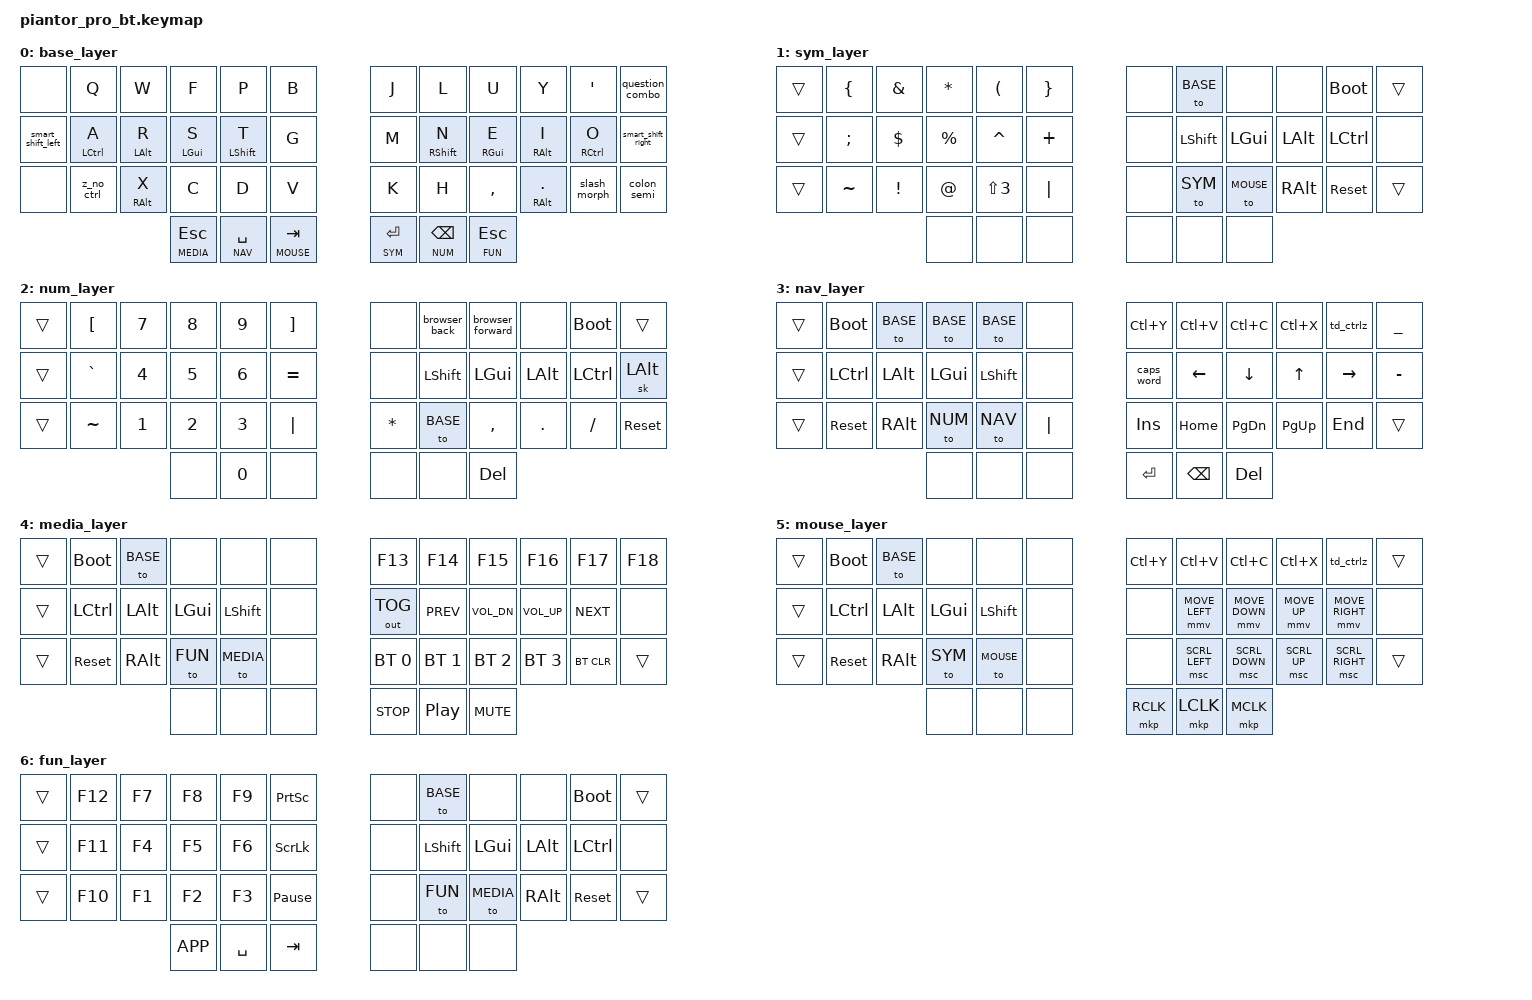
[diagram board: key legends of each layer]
/*
 * Copyright (c) 2025 Will Napier
 *
 * SPDX-License-Identifier: MIT
 */

#include <behaviors.dtsi>
#include <dt-bindings/zmk/keys.h>
#include <dt-bindings/zmk/bt.h>
#include <dt-bindings/zmk/outputs.h>
#include <dt-bindings/zmk/pointing.h>

// Set maximum mouse velocity
#define ZMK_POINTING_DEFAULT_MOVE_VAL 1200

// Layer definitions
#define BASE 0
#define SYM 1
#define NUM 2
#define NAV 3
#define MEDIA 4
#define MOUSE 5
#define FUN 6

// Miryoku timeless HRM settings
#define QUICK_TAP_MS 175

&mt {
    flavor = "balanced";
    tapping-term-ms = <280>;
    quick-tap-ms = <QUICK_TAP_MS>;
    require-prior-idle-ms = <200>;
    hold-trigger-on-release;
};

/ {
    macros {
        // British Pound Sterling via compose sequence (Menu, L, -)
        // Works with ~/.XCompose on Linux
        pound_macro: pound_macro {
            compatible = "zmk,behavior-macro";
            #binding-cells = <0>;
            wait-ms = <30>;
            tap-ms = <30>;
            bindings = <&kp K_APP>, <&kp L>, <&kp MINUS>;
        };
    };

    behaviors {
        td_ctrlz: tap_dance {
            compatible = "zmk,behavior-tap-dance";
            #binding-cells = <0>;
            tapping-term-ms = <200>;
            bindings = <&none>, <&kp LC(Z)>;
        };

        // Make Left-Ctrl+Z a hard no-op at the keyboard (matches the macOS keymap).
        // Z tapped on its own = "z"; Z pressed while Left-Ctrl is held = nothing.
        // Reads LIVE modifier state, so it catches a deliberately-held A (the LCTRL
        // home-row mod) + Z, killing the terminal SIGTSTP suspend at source.
        // NOTE (Linux): deliberate undo is the NAV-layer td_ctrlz (NAV + ' = LC(Z)),
        // which is a separate binding and is UNAFFECTED — you keep undo, you only lose
        // the misfire-prone hold-A+Z route to it.
        z_no_ctrl: z_no_ctrl_morph {
            compatible = "zmk,behavior-mod-morph";
            #binding-cells = <0>;
            bindings = <&kp Z>, <&none>;
            mods = <(MOD_LCTL)>;
        };

        // Smart shift with parentheses on shift - urob-inspired simplified version
        smart_shift_left: smart_shift_left_morph {
            compatible = "zmk,behavior-mod-morph";
            #binding-cells = <0>;
            bindings = <&sk LSHFT>, <&kp LPAR>;  // Normal = sticky shift, Shift = (
            mods = <(MOD_LSFT|MOD_RSFT)>;
        };

        smart_shift_right: smart_shift_right_morph {
            compatible = "zmk,behavior-mod-morph";
            #binding-cells = <0>;
            bindings = <&sk LSHFT>, <&kp RPAR>;  // Normal = sticky shift, Shift = )
            mods = <(MOD_LSFT|MOD_RSFT)>;
        };

        // Forward slash / backslash on same key
        slash_morph: slash_behavior {
            compatible = "zmk,behavior-mod-morph";
            #binding-cells = <0>;
            bindings = <&kp FSLH>, <&kp BSLH>;
            mods = <(MOD_LSFT|MOD_RSFT)>;
        };

        // Question mark / exclamation on same key
        question_combo: question_combo_morph {
            compatible = "zmk,behavior-mod-morph";
            #binding-cells = <0>;
            bindings = <&kp QUESTION>, <&kp EXCLAMATION>;   // Normal = ? vs Shift = !
            mods = <(MOD_LSFT|MOD_RSFT)>;
        };

        // Colon / semicolon on same key
        colon_semi: colon_semi_morph {
            compatible = "zmk,behavior-mod-morph";
            #binding-cells = <0>;
            bindings = <&kp COLON>, <&kp SEMI>;   // Normal = : vs Shift = ;
            mods = <(MOD_LSFT|MOD_RSFT)>;
        };

        // Plus / equal on same key
        plus_equal: plus_equal_morph {
            compatible = "zmk,behavior-mod-morph";
            #binding-cells = <0>;
            bindings = <&kp PLUS>, <&kp EQUAL>;   // Normal = + vs Shift = =
            mods = <(MOD_LSFT|MOD_RSFT)>;
        };

        // Browser navigation behaviors (Linux uses Ctrl)
        browser_back: browser_back_morph {
            compatible = "zmk,behavior-mod-morph";
            #binding-cells = <0>;
            bindings = <&kp LC(LBKT)>, <&kp LC(LS(LBKT))>;   // Ctrl+[ normal, Ctrl+Shift+[ shifted (previous tab)
            mods = <(MOD_LSFT|MOD_RSFT)>;
        };

        browser_forward: browser_forward_morph {
            compatible = "zmk,behavior-mod-morph";
            #binding-cells = <0>;
            bindings = <&kp LC(RBKT)>, <&kp LC(LS(RBKT))>;   // Ctrl+] normal, Ctrl+Shift+] shifted (next tab)
            mods = <(MOD_LSFT|MOD_RSFT)>;
        };

        // Symbol combo behaviors with shift variants
        bracket_left: bracket_left_morph {
            compatible = "zmk,behavior-mod-morph";
            #binding-cells = <0>;
            bindings = <&kp LBKT>, <&kp LBRC>;   // [ normal, { shifted
            mods = <(MOD_LSFT|MOD_RSFT)>;
        };

        bracket_right: bracket_right_morph {
            compatible = "zmk,behavior-mod-morph";
            #binding-cells = <0>;
            bindings = <&kp RBKT>, <&kp RBRC>;   // ] normal, } shifted
            mods = <(MOD_LSFT|MOD_RSFT)>;
        };

        quote: quote_morph {
            compatible = "zmk,behavior-mod-morph";
            #binding-cells = <0>;
            bindings = <&kp SQT>, <&kp DQT>;   // ' normal, " shifted
            mods = <(MOD_LSFT|MOD_RSFT)>;
        };

        // Positional hold-tap for shift - only triggers on opposite hand
        // Uses tap-preferred to bias toward tap during fast rolls
        // Left shift: triggers only on right-hand keys (positions 6-11, 18-23, 30-35, 39-41)
        hml_shift: home_row_left_shift {
            compatible = "zmk,behavior-hold-tap";
            #binding-cells = <2>;
            flavor = "tap-preferred";
            tapping-term-ms = <280>;
            quick-tap-ms = <QUICK_TAP_MS>;
            require-prior-idle-ms = <200>;
            bindings = <&kp>, <&kp>;
            hold-trigger-key-positions = <6 7 8 9 10 11 18 19 20 21 22 23 30 31 32 33 34 35 39 40 41>;
            hold-trigger-on-release;
        };

        // Positional hold-tap for the left-hand letter mods (Ctrl/Alt/GUI on A/R/S).
        // Same bilateral guard as hml_shift: the hold only triggers in combination with
        // a RIGHT-hand key, so same-hand rolls (e.g. a->z) can never produce Ctrl+Z and
        // suspend the terminal. Deliberate undo stays on the NAV layer, unaffected.
        hml: home_row_left_mod {
            compatible = "zmk,behavior-hold-tap";
            #binding-cells = <2>;
            flavor = "tap-preferred";
            tapping-term-ms = <280>;
            quick-tap-ms = <QUICK_TAP_MS>;
            require-prior-idle-ms = <200>;
            bindings = <&kp>, <&kp>;
            hold-trigger-key-positions = <6 7 8 9 10 11 18 19 20 21 22 23 30 31 32 33 34 35 39 40 41>;
            hold-trigger-on-release;
        };

        // Right shift: triggers only on left-hand keys (positions 0-5, 12-17, 24-29, 36-38)
        hmr_shift: home_row_right_shift {
            compatible = "zmk,behavior-hold-tap";
            #binding-cells = <2>;
            flavor = "tap-preferred";
            tapping-term-ms = <280>;
            quick-tap-ms = <QUICK_TAP_MS>;
            require-prior-idle-ms = <200>;
            bindings = <&kp>, <&kp>;
            hold-trigger-key-positions = <0 1 2 3 4 5 12 13 14 15 16 17 24 25 26 27 28 29 36 37 38>;
            hold-trigger-on-release;
        };

        // Right Cmd: tap-preferred with higher idle requirement to prevent accidental Cmd+Backspace
        // when typing words ending in E (like "the") followed by quick corrections
        hmr_cmd: home_row_right_cmd {
            compatible = "zmk,behavior-hold-tap";
            #binding-cells = <2>;
            flavor = "tap-preferred";
            tapping-term-ms = <280>;
            quick-tap-ms = <QUICK_TAP_MS>;
            require-prior-idle-ms = <200>;
            bindings = <&kp>, <&kp>;
            hold-trigger-on-release;
        };
    };


    combos {
        compatible = "zmk,combos";

        // L + U = : (colon) / ; (semicolon when shifted)
        // require-prior-idle prevents misfires during fast typing (ul/lu patterns)
        // while allowing intentional combos after natural pauses
        combo_colon {
            timeout-ms = <50>;
            require-prior-idle-ms = <100>;
            key-positions = <7 8>;
            bindings = <&colon_semi>;
            layers = <BASE>;
        };

        // U + Y = - (minus/hyphen)
        combo_minus {
            // Tuned 2026-06-29 to fix bidirectional misfire (buy/guy -> "-", and a wanted
            // "-" landing as "uy"): the prior-idle gate blocks the mid-word u->y roll (like
            // the sibling combos), and the looser timeout lets the deliberate combo land.
            // Safe to loosen here because "uy" never starts a word — unlike "lu"/colon,
            // whose tight 50ms window we deliberately keep (lunch/luck/lure).
            timeout-ms = <70>;
            require-prior-idle-ms = <75>;
            key-positions = <8 9>;
            bindings = <&kp MINUS>;
            layers = <BASE>;
        };

        // , + . = ? (question mark) / ! (exclamation when shifted)
        combo_question {
            timeout-ms = <50>;
            key-positions = <32 33>;
            bindings = <&question_combo>;
            layers = <BASE>;
        };

        // Safety combo: prevent accidental Ctrl+Z suspension when brushing A while pressing Z
        combo_az_null {
            timeout-ms = <50>;
            require-prior-idle-ms = <50>;
            key-positions = <13 25>;  // A + Z
            bindings = <&none>;
            layers = <BASE>;
        };

        // Symbol combos
        combo_bracket_left {
            timeout-ms = <50>;
            require-prior-idle-ms = <150>;
            key-positions = <2 3>;  // W + F
            bindings = <&bracket_left>;
            layers = <BASE>;
        };

        combo_bracket_right {
            timeout-ms = <50>;
            require-prior-idle-ms = <150>;
            key-positions = <3 4>;  // F + P
            bindings = <&bracket_right>;
            layers = <BASE>;
        };

        combo_at {
            timeout-ms = <50>;
            require-prior-idle-ms = <150>;
            key-positions = <25 26>;  // X + C
            bindings = <&kp AT>;
            layers = <BASE>;
        };

        combo_pipe {
            timeout-ms = <50>;
            require-prior-idle-ms = <150>;
            key-positions = <26 27>;  // C + D
            bindings = <&kp PIPE>;
            layers = <BASE>;
        };

        combo_plus {
            timeout-ms = <50>;
            require-prior-idle-ms = <150>;
            key-positions = <31 32>;  // H + ,
            bindings = <&plus_equal>;
            layers = <BASE>;
        };

        combo_pound {
            timeout-ms = <50>;
            require-prior-idle-ms = <150>;
            key-positions = <33 34>;  // . + /
            bindings = <&pound_macro>;  // £ via compose sequence (Menu, L, -)
            layers = <BASE>;
        };

        // One-shot capital combos (experimental, 2026-06-30): tap both keys to
        // arm a sticky Shift for the next letter only. Emits Shift alone (no
        // Ctrl/Cmd), so no clash with modified app shortcuts. The idle +
        // tight-timeout guard stops them firing during normal typing rolls
        // (e.g. "st"/"ne"); capitals fall after a space (a pause), which is
        // exactly when the combo is permitted to fire.
        combo_shift_left {
            timeout-ms = <40>;
            require-prior-idle-ms = <200>;
            key-positions = <15 16>;  // S + T  ->  sticky LSHIFT
            bindings = <&sk LSHFT>;
            layers = <BASE>;
        };

        combo_shift_right {
            timeout-ms = <40>;
            require-prior-idle-ms = <200>;
            key-positions = <19 20>;  // N + E  ->  sticky RSHIFT
            bindings = <&sk RSHFT>;
            layers = <BASE>;
        };

    };
};

// Configure mouse movement acceleration (Urob-style)
&mmv {
    acceleration-exponent = <1>;
    time-to-max-speed-ms = <60>;
    delay-ms = <0>;
};

// Configure mouse scroll - remove rate limiting for responsive repeated scrolls
&msc {
    acceleration-exponent = <0>;  // Linear, no acceleration
    time-to-max-speed-ms = <0>;   // Immediate max speed
    delay-ms = <0>;               // No delay between scrolls
};

/ {
    chosen {
        zmk,physical-layout = &default_layout;
    };

    keymap {
        compatible = "zmk,keymap";

        base_layer {
            bindings = <
                &none           &kp Q           &kp W           &kp F           &kp P           &kp B           &kp J           &kp L           &kp U           &kp Y           &kp SQT         &question_combo
                &smart_shift_left &hml LCTRL A  &hml LALT R     &hml LGUI S      &hml_shift LSHFT T     &kp G           &kp M           &hmr_shift RSHFT N     &hmr_cmd RGUI E      &mt RALT I      &mt RCTRL O     &smart_shift_right
                &none           &z_no_ctrl      &mt RALT X      &kp C           &kp D           &kp V           &kp K           &kp H           &kp COMMA       &mt RALT DOT    &slash_morph    &colon_semi
                                                        &lt MEDIA ESC           &lt NAV SPACE   &lt MOUSE TAB   &lt SYM RET     &lt NUM BSPC    &lt FUN ESC
            >;
        };

        sym_layer {
            bindings = <
                &trans          &kp LBRC        &kp AMPS        &kp ASTRK       &kp LPAR        &kp RBRC        &none           &to BASE        &none           &none           &bootloader     &trans
                &trans          &kp SEMI        &kp DLLR        &kp PRCNT       &kp CARET       &kp PLUS        &none           &kp LSHFT       &kp LGUI        &kp LALT        &kp LCTRL       &none
                &trans          &kp TILDE       &kp EXCL        &kp AT          &kp LS(N3)      &kp PIPE        &none           &to SYM         &to MOUSE       &kp RALT        &sys_reset      &trans
                                                &none           &none           &none           &none           &none           &none
            >;
        };

        num_layer {
            bindings = <
                &trans          &kp LBKT        &kp N7          &kp N8          &kp N9          &kp RBKT        &none           &browser_back   &browser_forward &none          &bootloader     &trans
                &trans          &kp GRAVE       &kp N4          &kp N5          &kp N6          &kp EQUAL       &none           &kp LSHFT       &kp LGUI        &kp LALT        &kp LCTRL       &sk LALT
                &trans          &kp TILDE       &kp N1          &kp N2          &kp N3          &kp PIPE           &kp STAR        &to BASE        &kp COMMA       &kp DOT         &kp FSLH        &sys_reset
                                                &none           &kp N0          &none           &none           &none           &kp DEL
            >;
        };

        nav_layer {
            bindings = <
                &trans          &bootloader     &to BASE        &to BASE        &to BASE        &none           &kp LC(Y)       &kp LC(V)       &kp LC(C)       &kp LC(X)       &td_ctrlz       &kp UNDER
                &trans          &kp LCTRL       &kp LALT        &kp LGUI        &kp LSHFT       &none           &caps_word      &kp LEFT        &kp DOWN        &kp UP          &kp RIGHT       &kp MINUS
                &trans          &sys_reset      &kp RALT        &to NUM         &to NAV         &kp PIPE        &kp INS         &kp HOME        &kp PG_DN       &kp PG_UP       &kp END         &trans
                                                &none           &none           &none           &kp RET         &kp BSPC        &kp DEL
             >;
        };

        media_layer {
            // Screenshot keys on top row right (hold MEDIA left thumb + key):
            // J=F13 region→file, L=F14 full→file, U=F15 window→file
            // Y=F16 region→clip, '=F17 full→clip, ?=F18 window→clip (least used)
            bindings = <
                &trans          &bootloader     &to BASE        &none           &none           &none           &kp F13         &kp F14         &kp F15         &kp F16         &kp F17         &kp F18
                &trans          &kp LCTRL       &kp LALT        &kp LGUI        &kp LSHFT       &none           &out OUT_TOG    &kp C_PREV      &kp C_VOL_DN    &kp C_VOL_UP    &kp C_NEXT      &none
                &trans          &sys_reset      &kp RALT        &to FUN         &to MEDIA       &none           &bt BT_SEL 0    &bt BT_SEL 1    &bt BT_SEL 2    &bt BT_SEL 3    &bt BT_CLR      &trans
                                                &none           &none           &none           &kp C_STOP      &kp C_PP        &kp C_MUTE
            >;
        };

        mouse_layer {
            bindings = <
                &trans          &bootloader     &to BASE        &none           &none           &none           &kp LC(Y)       &kp LC(V)       &kp LC(C)       &kp LC(X)       &td_ctrlz       &trans
                &trans          &kp LCTRL       &kp LALT        &kp LGUI        &kp LSHFT       &none           &none           &mmv MOVE_LEFT  &mmv MOVE_DOWN  &mmv MOVE_UP    &mmv MOVE_RIGHT &none
                &trans          &sys_reset      &kp RALT        &to SYM         &to MOUSE       &none           &none           &msc SCRL_LEFT  &msc SCRL_DOWN  &msc SCRL_UP    &msc SCRL_RIGHT &trans
                                                &none           &none           &none           &mkp RCLK       &mkp LCLK       &mkp MCLK
            >;
        };

        fun_layer {
            bindings = <
                &trans          &kp F12         &kp F7          &kp F8          &kp F9          &kp PSCRN       &none           &to BASE        &none           &none           &bootloader     &trans
                &trans          &kp F11         &kp F4          &kp F5          &kp F6          &kp SLCK        &none           &kp LSHFT       &kp LGUI        &kp LALT        &kp LCTRL       &none
                &trans          &kp F10         &kp F1          &kp F2          &kp F3          &kp PAUSE_BREAK &none           &to FUN         &to MEDIA       &kp RALT        &sys_reset      &trans
                                                &kp K_APP       &kp SPACE       &kp TAB         &none           &none           &none
            >;
        };

    };
};
